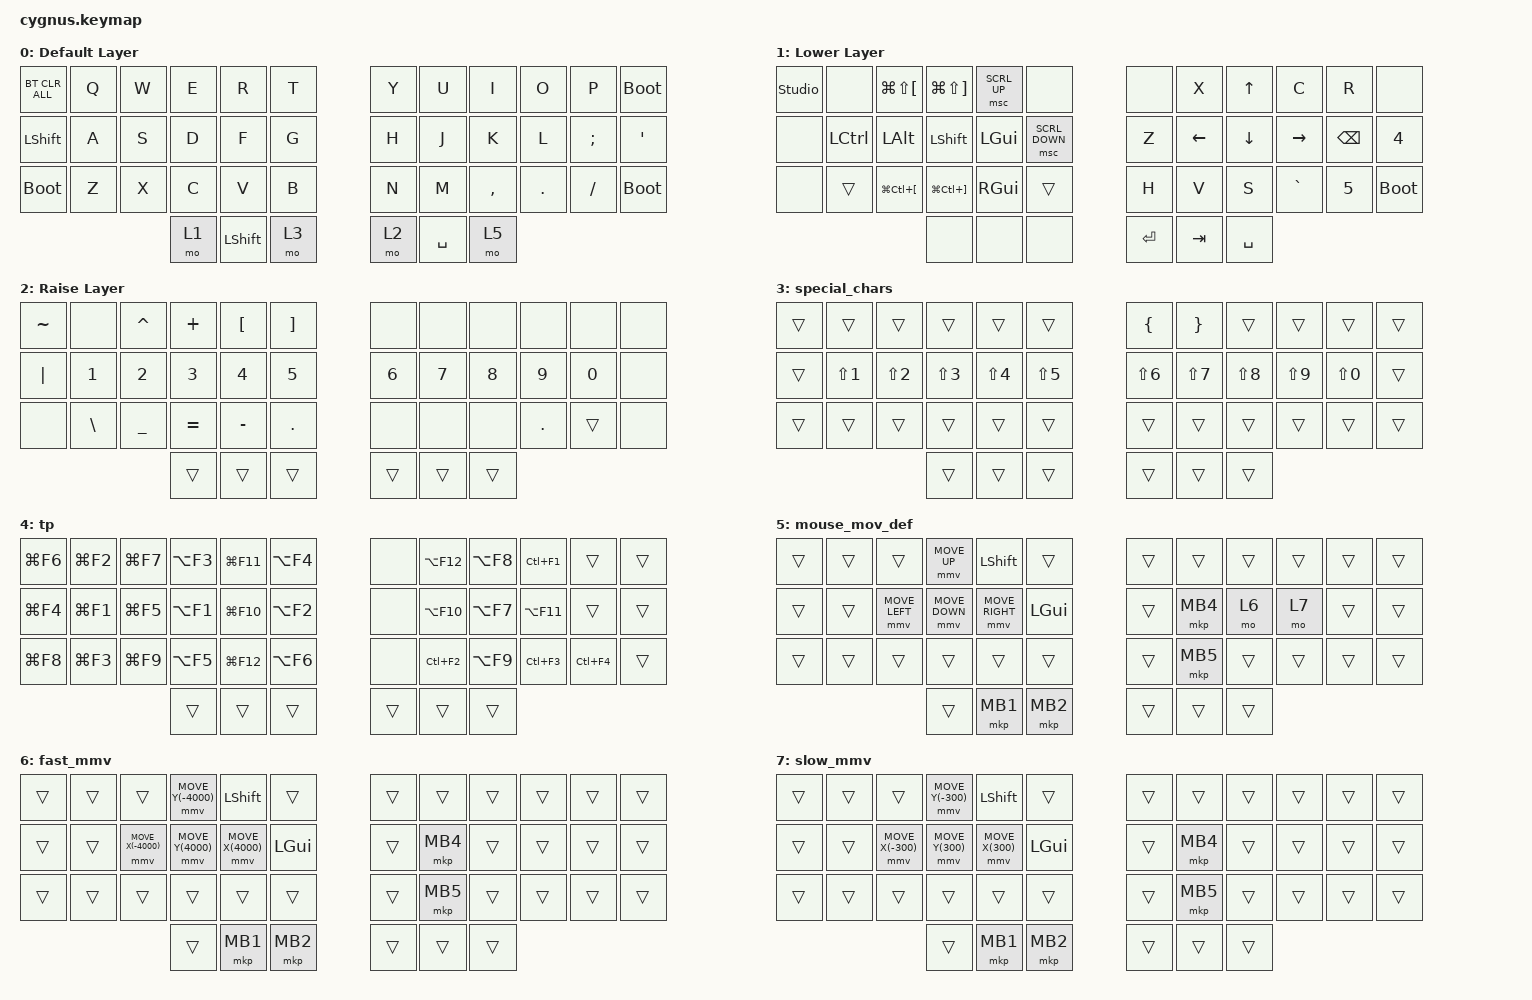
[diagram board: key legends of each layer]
/*
 * Copyright (c) 2020 The ZMK Contributors
 *
 * SPDX-License-Identifier: MIT
 */

#include <behaviors.dtsi>
#include <dt-bindings/zmk/bt.h>
#include <dt-bindings/zmk/keys.h>
#include <dt-bindings/zmk/pointing.h>

&bootloader {
};

/ {
    combos {
        compatible = "zmk,combos";

        Return_Combo {
            bindings = <&kp RET>;
            key-positions = <37 40>;
        };

        Left_Bootloader {
            bindings = <&bootloader>;
            key-positions = <25 26 27 28>;
        };

        L_GUI {
            bindings = <&kp LEFT_GUI>;
            key-positions = <16 15>;
        };

        right-side-cmd {
            bindings = <&kp LGUI>;
            key-positions = <19 20>;
        };

        tp_layer {
            bindings = <&mo 4>;
            key-positions = <41 36>;
        };

        esc {
            bindings = <&kp ESC>;
            key-positions = <16 15 14>;
        };

        two_hand_esc {
            bindings = <&kp ESC>;
            key-positions = <16 15 19 20>;
        };

        left_clear_ble {
            bindings = <&bt BT_CLR_ALL>;
            key-positions = <4 2 3 1>;
        };
    };

    keymap {
        compatible = "zmk,keymap";

        default_layer {
            display-name = "Default Layer";

            // -----------------------------------------------------------------------------------------
            // |  TAB |  Q  |  W  |  E  |  R  |  T  |   |  Y  |  U   |  I  |  O  |  P  | BSPC |
            // | CTRL |  A  |  S  |  D  |  F  |  G  |   |  H  |  J   |  K  |  L  |  ;  |  '   |
            // | SHFT |  Z  |  X  |  C  |  V  |  B  |   |  N  |  M   |  ,  |  .  |  /  | ESC  |
            //                    | GUI | LWR | SPC |   | ENT | RSE  | ALT |

            bindings = <
&bt BT_CLR_ALL  &kp Q  &kp W  &kp E  &kp R           &kp T  &kp Y  &kp U      &kp I      &kp O    &kp P     &bootloader
&kp LEFT_SHIFT  &kp A  &kp S  &kp D  &kp F           &kp G  &kp H  &kp J      &kp K      &kp L    &kp SEMI  &kp SQT
&bootloader     &kp Z  &kp X  &kp C  &kp V           &kp B  &kp N  &kp M      &kp COMMA  &kp DOT  &kp FSLH  &bootloader
                              &mo 1  &kp LEFT_SHIFT  &mo 3  &mo 2  &kp SPACE  &mo 5
            >;
        };

        modifier {
            display-name = "Lower Layer";

            // -----------------------------------------------------------------------------------------
            // |  TAB |  1  |  2  |  3  |  4  |  5  |   |  6  |  7  |  8  |  9  |  0  | BSPC |
            // | BTCLR| BT1 | BT2 | BT3 | BT4 | BT5 |   | LFT | DWN |  UP | RGT |     |      |
            // | SHFT |     |     |     |     |     |   |     |     |     |     |     |      |
            //                    | GUI |     | SPC |   | ENT |     | ALT |

            bindings = <
&studio_unlock  &none             &kp LG(LS(LEFT_BRACKET))  &kp LG(LS(RIGHT_BRACKET))  &msc SCRL_UP  &none           &none  &kp X           &kp UP_ARROW  &kp C      &kp R          &none
&none           &kp LEFT_CONTROL  &kp LEFT_ALT              &kp LEFT_SHIFT             &kp LEFT_GUI  &msc SCRL_DOWN  &kp Z  &kp LEFT_ARROW  &kp DOWN      &kp RIGHT  &kp BACKSPACE  &kp NUMBER_4
&none           &trans            &kp LG(LC(LEFT_BRACKET))  &kp LG(LC(RIGHT_BRACKET))  &kp RGUI      &trans          &kp H  &kp V           &kp S         &kp GRAVE  &kp N5         &bootloader
                                                            &none                      &none         &none           &kp RET  &kp TAB  &kp SPACE
            >;
        };

        num_layer {
            display-name = "Raise Layer";

            // -----------------------------------------------------------------------------------------
            // |  TAB |  !  |  @  |  #  |  $  |  %  |   |  ^  |  &  |  *  |  (  |  )  | BSPC |
            // | CTRL |     |     |     |     |     |   |  -  |  =  |  [  |  ]  |  \  |  `   |
            // | SHFT |     |     |     |     |     |   |  _  |  +  |  {  |  }  | "|" |  ~   |
            //                    | GUI |     | SPC |   | ENT |     | ALT |

            bindings = <
&kp TILDE  &none          &kp CARET       &kp PLUS      &kp LEFT_BRACKET  &kp RIGHT_BRACKET  &none         &none   &none   &none       &none   &none
&kp PIPE   &kp NUMBER_1   &kp NUMBER_2    &kp NUMBER_3  &kp NUMBER_4      &kp N5             &kp NUMBER_6  &kp N7  &kp N8  &kp N9      &kp N0  &none
&none      &kp BACKSLASH  &kp UNDERSCORE  &kp EQUAL     &kp MINUS         &kp PERIOD         &none         &none   &none   &kp PERIOD  &trans  &none
                                          &trans        &trans            &trans             &trans        &trans  &trans
            >;
        };

        special_chars {
            bindings = <
&trans  &trans            &trans            &trans      &trans      &trans      &kp LEFT_BRACE  &kp RIGHT_BRACE  &trans      &trans      &trans      &trans
&trans  &kp LS(NUMBER_1)  &kp LS(NUMBER_2)  &kp LS(N3)  &kp LS(N4)  &kp LS(N5)  &kp LS(N6)      &kp LS(N7)       &kp LS(N8)  &kp LS(N9)  &kp LS(N0)  &trans
&trans  &trans            &trans            &trans      &trans      &trans      &trans          &trans           &trans      &trans      &trans      &trans
                                            &trans      &trans      &trans      &trans          &trans           &trans
            >;
        };

        tp {
            bindings = <
&kp LG(F6)  &kp LG(F2)  &kp LG(F7)  &kp LA(F3)  &kp LG(F11)  &kp LA(F4)  &none   &kp LA(F12)  &kp LA(F8)  &kp LC(F1)   &trans      &trans
&kp LG(F4)  &kp LG(F1)  &kp LG(F5)  &kp LA(F1)  &kp LG(F10)  &kp LA(F2)  &none   &kp LA(F10)  &kp LA(F7)  &kp LA(F11)  &trans      &trans
&kp LG(F8)  &kp LG(F3)  &kp LG(F9)  &kp LA(F5)  &kp LG(F12)  &kp LA(F6)  &none   &kp LC(F2)   &kp LA(F9)  &kp LC(F3)   &kp LC(F4)  &trans
                                    &trans      &trans       &trans      &trans  &trans       &trans
            >;
        };

        mouse_mov_def {
            bindings = <
&trans  &trans  &trans          &mmv MOVE_UP    &kp LEFT_SHIFT   &trans        &trans  &trans    &trans  &trans  &trans  &trans
&trans  &trans  &mmv MOVE_LEFT  &mmv MOVE_DOWN  &mmv MOVE_RIGHT  &kp LEFT_GUI  &trans  &mkp MB4  &mo 6   &mo 7   &trans  &trans
&trans  &trans  &trans          &trans          &trans           &trans        &trans  &mkp MB5  &trans  &trans  &trans  &trans
                                &trans          &mkp MB1         &mkp MB2      &trans  &trans    &trans
            >;
        };

        fast_mmv {
            bindings = <
&trans  &trans  &trans              &mmv MOVE_Y(-4000)  &kp LEFT_SHIFT     &trans        &trans  &trans    &trans  &trans  &trans  &trans
&trans  &trans  &mmv MOVE_X(-4000)  &mmv MOVE_Y(4000)   &mmv MOVE_X(4000)  &kp LEFT_GUI  &trans  &mkp MB4  &trans  &trans  &trans  &trans
&trans  &trans  &trans              &trans              &trans             &trans        &trans  &mkp MB5  &trans  &trans  &trans  &trans
                                    &trans              &mkp MB1           &mkp MB2      &trans  &trans    &trans
            >;
        };

        slow_mmv {
            bindings = <
&trans  &trans  &trans             &mmv MOVE_Y(-300)  &kp LEFT_SHIFT    &trans        &trans  &trans    &trans  &trans  &trans  &trans
&trans  &trans  &mmv MOVE_X(-300)  &mmv MOVE_Y(300)   &mmv MOVE_X(300)  &kp LEFT_GUI  &trans  &mkp MB4  &trans  &trans  &trans  &trans
&trans  &trans  &trans             &trans             &trans            &trans        &trans  &mkp MB5  &trans  &trans  &trans  &trans
                                   &trans             &mkp MB1          &mkp MB2      &trans  &trans    &trans
            >;
        };
    };
};
